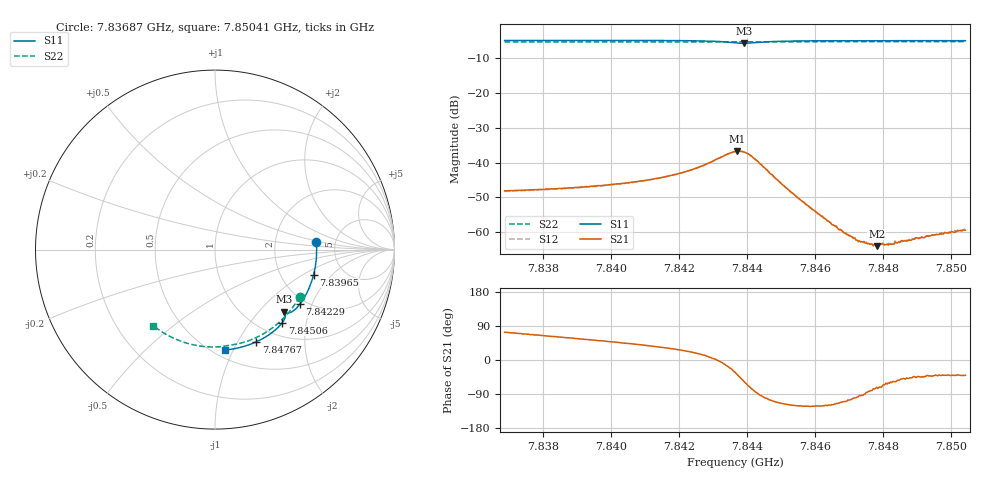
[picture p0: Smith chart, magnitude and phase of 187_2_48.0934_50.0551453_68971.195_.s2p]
#  HZ  S  RI  R  50.00
! Rohde & Schwarz Vector Network Analyzer
! Rohde-Schwarz,ZNB20-2Port,1311601062101988,3.16
! Created: UTC 12/23/2023, 3:53:22 AM
! freq[Hz]  re:S11  im:S11  re:S21  im:S21  re:S12  im:S12  re:S22  im:S22
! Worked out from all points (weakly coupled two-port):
!   401 points, 7.83687 GHz to 7.85041 GHz, reference 50 ohm
!   highest |S21| = -36.65 dB at 7.84371 GHz (marker M1); lowest = -63.9 dB at 7.8478 GHz (marker M2)
!   lowest |S11| = -5.7 dB at 7.84391 GHz (marker M3), VSWR 3.14, Z = 73.6 - j69.3 ohm
!   |S11| at or under -10 dB: nowhere
!   |S22| runs from -5.4 to -5.3 dB; largest |S21 - S12| = 0.0003
!   S11 on the Smith chart (normalised r, x): 7.83687 GHz: 3.54, +0.46; 7.83965 GHz: 3.05, -1.25; 7.84229 GHz: 1.84, -1.64; 7.84506 GHz: 1.25, -1.46; 7.84767 GHz: 0.80, -1.20; 7.85041 GHz: 0.57, -0.93
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7.83687e9  0.5644 0.0443  0.00114 0.00378  0.00117 0.00372  0.4716 -0.2622
7.839138e9  0.5569 -0.106  0.00256 0.00369  0.00251 0.00361  0.3758 -0.3882
7.839645e9  0.5495 -0.1393  0.00296 0.00362  0.0029 0.00358  0.3496 -0.4123
7.840458e9  0.5331 -0.1917  0.0037 0.00355  0.00364 0.00354  0.3043 -0.447
7.841405e9  0.5066 -0.2513  0.00495 0.00341  0.00492 0.0034  0.2475 -0.4813
7.842285e9  0.4728 -0.3048  0.00711 0.00292  0.0071 0.00292  0.1908 -0.5066
7.842658e9  0.4541 -0.326  0.00864 0.00224  0.00859 0.00226  0.1659 -0.5151
7.843132e9  0.424 -0.3484  0.0114 -0.0002  0.0113 -0.000197  0.1338 -0.5237
7.843639e9  0.3887 -0.3521  0.0122 -0.00764  0.0121 -0.00773  0.0998 -0.5297
7.843707e9  0.3858 -0.3502  0.0115 -0.00919  0.0114 -0.00898  0.0953 -0.5305
7.84391e9  0.3844 -0.345  0.00766 -0.012  0.00777 -0.0118  0.0827 -0.5326
7.844046e9  0.3876 -0.3454  0.00473 -0.0124  0.00467 -0.0123  0.0741 -0.5344
7.844249e9  0.3923 -0.3532  0.000962 -0.0109  0.00102 -0.011  0.0608 -0.5368
7.845061e9  0.3751 -0.4065  -0.00203 -0.00427  -0.00201 -0.0043  0.00417 -0.5425
7.845907e9  0.3329 -0.4504  -0.00114 -0.00182  -0.00114 -0.00183  -0.0557 -0.5409
7.846923e9  0.2755 -0.4903  -0.0003 -0.000878  -0.000299 -0.000901  -0.1262 -0.5295
7.847295e9  0.2534 -0.5024  -4.81e-05 -0.000749  -8.08e-05 -0.000759  -0.1515 -0.523
7.847667e9  0.2307 -0.5135  0.000113 -0.00067  0.000137 -0.000663  -0.1764 -0.5153
7.847803e9  0.2223 -0.5173  0.000199 -0.000606  0.000159 -0.000621  -0.1855 -0.5123
7.848175e9  0.1994 -0.5266  0.000322 -0.000596  0.00036 -0.00059  -0.2098 -0.5029
7.849495e9  0.1146 -0.5509  0.000691 -0.000607  0.000682 -0.000605  -0.2922 -0.4608
7.850409e9  0.0546 -0.5597  0.000823 -0.000688  0.000832 -0.000702  -0.3443 -0.4237
